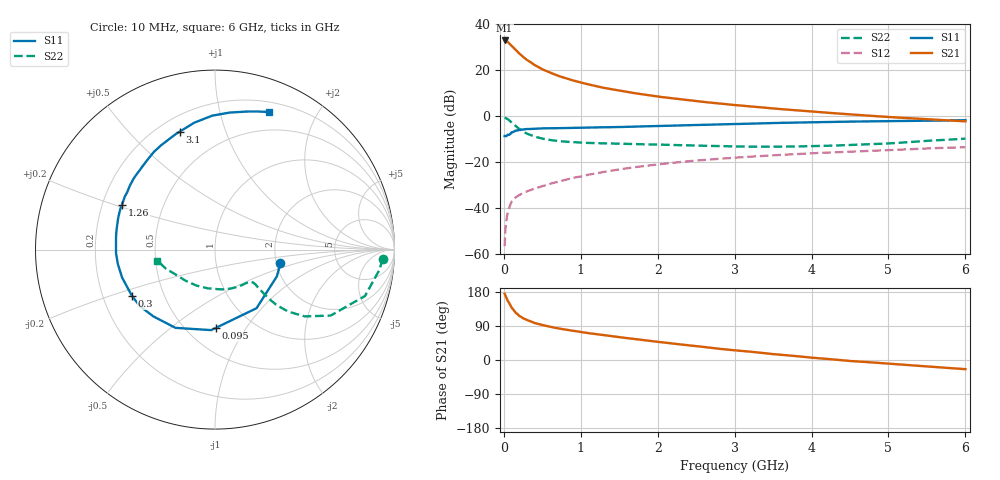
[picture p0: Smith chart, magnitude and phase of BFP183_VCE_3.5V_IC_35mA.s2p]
! Infineon Technologies  Discrete & RF Semiconductors
! BFP183
! VCE = 3.5 V,  IC =  35 mA
! Common Emitter S-Parameters:  Jan 2016
# GHz  S  MA  R  50
!  f  S11  S21  S12  S22
! GHz  MAG  ANG  MAG  ANG  MAG  ANG  MAG  ANG
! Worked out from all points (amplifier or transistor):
!   210 points, 10 MHz to 6 GHz, reference 50 ohm
!   highest |S21| = 33.0 dB at 10 MHz (marker M1)
!   |S21| within 3 dB of that: start of sweep to 121.9 MHz
!   unconditionally stable (mu >= 1): 567.4 MHz to 5.697 GHz
!   at 185 MHz: K = 0.53, MSG = 31.2 dB, |S12| = -34.6 dB
!   at 1.52 GHz: K = 1.20, MAG = 14.3 dB, |S12| = -23.0 dB
!   at 6 GHz: K = 0.96, MSG = 5.6 dB, |S12| = -13.4 dB
!   S11 on the Smith chart (normalised r, x): 10 MHz: 2.10, -0.37; 95 MHz: 0.68, -0.74; 300 MHz: 0.33, -0.23; 1.26 GHz: 0.28, +0.21; 3.1 GHz: 0.28, +0.70; 6 GHz: 0.30, +1.43
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0.01  0.3727 -11.8  44.69 175.0  0.0015 80.4  0.9353 -3.2
0.02  0.3756 -23.4  44.36 170.5  0.0034 85.9  0.9232 -7.0
0.05  0.4003 -54.7  41.77 156.5  0.008 75.3  0.8747 -17.2
0.095  0.4364 -89.5  35.12 140.5  0.0133 61.0  0.7532 -28.3
0.1  0.4491 -92.7  34.58 138.4  0.0139 60.1  0.7417 -29.7
0.15  0.4884 -116.8  28.29 125.6  0.017 54.6  0.6228 -36.7
0.2  0.5064 -132.7  23.35 116.6  0.0194 51.8  0.533 -40.3
0.24  0.5191 -141.0  20.32 111.5  0.0209 51.4  0.4814 -41.5
0.3  0.5296 -150.8  16.88 105.3  0.0233 51.9  0.4207 -42.3
0.4  0.5406 -163.3  13.06 97.5  0.0268 53.6  0.3619 -42.0
0.5  0.547 -171.4  10.56 92.1  0.0302 54.3  0.3268 -41.5
0.6  0.5518 -177.8  8.942 87.5  0.034 55.9  0.3049 -40.9
0.7  0.5529 176.6  7.643 83.6  0.0378 57.3  0.2906 -40.6
0.8  0.5566 171.9  6.76 80.1  0.0416 58.2  0.281 -40.8
1.02  0.5665 162.7  5.321 73.3  0.0501 58.8  0.267 -42.3
1.26  0.5754 154.5  4.304 66.8  0.0601 58.1  0.2592 -45.0
1.6  0.5924 143.6  3.401 57.8  0.0739 56.6  0.2516 -50.2
2.02  0.6142 131.5  2.667 47.6  0.0906 53.2  0.2428 -58.7
3.1  0.6858 106.7  1.702 23.9  0.1292 43.2  0.22 -87.6
4.1  0.7497 89.7  1.236 4.6  0.1601 33.8  0.2266 -120.4
5.1  0.789 77.1  0.945 -11.1  0.187 25.7  0.2633 -149.3
6  0.8241 68.4  0.778 -24.2  0.2131 17.1  0.3275 -169.3
